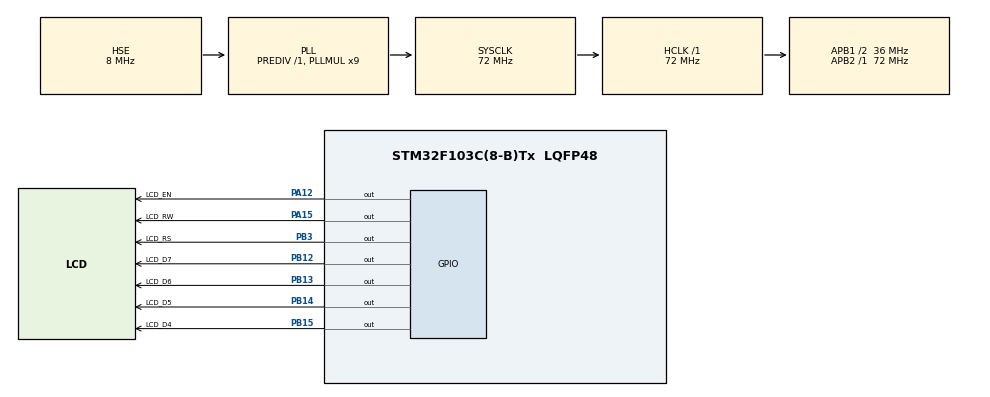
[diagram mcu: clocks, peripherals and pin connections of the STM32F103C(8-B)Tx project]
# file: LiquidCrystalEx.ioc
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Mcu.Family=STM32F1
Mcu.Name=STM32F103C(8-B)Tx
Mcu.Package=LQFP48
NVIC.PriorityGroup=NVIC_PRIORITYGROUP_4
PA12.GPIO_Label=LCD_EN
PA12.Signal=GPIO_Output
PA13.Mode=Serial_Wire
PA13.Signal=SYS_JTMS-SWDIO
PA14.Mode=Serial_Wire
PA14.Signal=SYS_JTCK-SWCLK
PA15.GPIO_Label=LCD_RW
PA15.Signal=GPIO_Output
PB12.GPIO_Label=LCD_D7
PB12.Signal=GPIO_Output
PB13.GPIO_Label=LCD_D6
PB13.Signal=GPIO_Output
PB14.GPIO_Label=LCD_D5
PB14.Signal=GPIO_Output
PB15.GPIO_Label=LCD_D4
PB15.Signal=GPIO_Output
PB3.GPIO_Label=LCD_RS
PB3.Signal=GPIO_Output
PC14-OSC32_IN.Mode=LSE-External-Oscillator
PC14-OSC32_IN.Signal=RCC_OSC32_IN
PC15-OSC32_OUT.Mode=LSE-External-Oscillator
PC15-OSC32_OUT.Signal=RCC_OSC32_OUT
PD0-OSC_IN.Mode=HSE-External-Oscillator
PD0-OSC_IN.Signal=RCC_OSC_IN
PD1-OSC_OUT.Mode=HSE-External-Oscillator
PD1-OSC_OUT.Signal=RCC_OSC_OUT
ProjectManager.HeapSize=0x200
ProjectManager.StackSize=0x400
ProjectManager.TargetToolchain=STM32CubeIDE
RCC.AHBFreq_Value=72000000
RCC.APB1CLKDivider=RCC_HCLK_DIV2
RCC.APB1Freq_Value=36000000
RCC.APB1TimFreq_Value=72000000
RCC.APB2Freq_Value=72000000
RCC.APB2TimFreq_Value=72000000
RCC.HCLKFreq_Value=72000000
RCC.PLLMUL=RCC_PLL_MUL9
RCC.PLLSourceVirtual=RCC_PLLSOURCE_HSE
RCC.SYSCLKFreq_VALUE=72000000
RCC.SYSCLKSource=RCC_SYSCLKSOURCE_PLLCLK
RCC.USBFreq_Value=72000000
board=custom

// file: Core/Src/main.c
/* USER CODE BEGIN Header */
/**
  ******************************************************************************
  * @file           : main.c
  * @brief          : Main program body
  ******************************************************************************
  * @attention
  *
  * <h2><center>&copy; Copyright (c) 2022 STMicroelectronics.
  * All rights reserved.</center></h2>
  *
  * This software component is licensed by ST under BSD 3-Clause license,
  * the "License"; You may not use this file except in compliance with the
  * License. You may obtain a copy of the License at:
  *                        opensource.org/licenses/BSD-3-Clause
  *
  ******************************************************************************
  */
/* USER CODE END Header */
#include "main.h"

/* USER CODE BEGIN Includes */
#include "LiquidCrystal.h"
#include <stdint.h>
#include <stdio.h>
/* USER CODE END Includes */

/* USER CODE BEGIN PD */

// ---- Testes (somente pode habilitar um por vez) ---------------------------*/
//#define AutoScroll
//#define Blink
//#define Cursor
//#define CustomCharacter
//#define Display
#define HelloWorld
//#define Scroll
//#define TextDirection
//#define SetCursor

/* USER CODE END PD */

void SystemClock_Config(void);
static void MX_GPIO_Init(void);

int main(void)
{

  /* MCU Configuration--------------------------------------------------------*/

  /* Reset of all peripherals, Initializes the Flash interface and the Systick. */
  HAL_Init();

  /* Configure the system clock */
  SystemClock_Config();

  /* Initialize all configured peripherals */
  MX_GPIO_Init();

  /* Infinite loop */
  /* USER CODE BEGIN WHILE */

#ifdef AutoScroll
  char buffer[10];
  LiquidCrystal lcd;
  begin(&lcd,16,2,LCD_5x8DOTS);
#endif

#ifdef Blink
  LiquidCrystal lcd;
  begin(&lcd,16,2,LCD_5x8DOTS);
  print(&lcd, "hello, world!");
#endif

#ifdef Cursor
  LiquidCrystal lcd;
  begin(&lcd,16,2,LCD_5x8DOTS);
  print(&lcd, "hello, world!");
#endif

#ifdef CustomCharacter
  // make some custom characters:
  unsigned char heart[8] = {
    0b00000,
    0b01010,
    0b11111,
    0b11111,
    0b11111,
    0b01110,
    0b00100,
    0b00000
  };

  unsigned char smiley[8] = {
    0b00000,
    0b00000,
    0b01010,
    0b00000,
    0b00000,
    0b10001,
    0b01110,
    0b00000
  };

  unsigned char frownie[8] = {
    0b00000,
    0b00000,
    0b01010,
    0b00000,
    0b00000,
    0b00000,
    0b01110,
    0b10001
  };

  unsigned char armsDown[8] = {
    0b00100,
    0b01010,
    0b00100,
    0b00100,
    0b01110,
    0b10101,
    0b00100,
    0b01010
  };

  unsigned char armsUp[8] = {
    0b00100,
    0b01010,
    0b00100,
    0b10101,
    0b01110,
    0b00100,
    0b00100,
    0b01010
  };

  char buffer[10];
  LiquidCrystal lcd;
  begin(&lcd,16,2,LCD_5x8DOTS);

  // create a new character
  createChar(&lcd, 0, heart);
  // create a new character
  createChar(&lcd, 1, smiley);
  // create a new character
  createChar(&lcd, 2, frownie);
  // create a new character
  createChar(&lcd, 3, armsDown);
  // create a new character
  createChar(&lcd, 4, armsUp);

  // set the cursor to the top left
  setCursor(&lcd, 0, 0);

  // Print a message to the LCD.
  print(&lcd, "I ");
  write(&lcd,(unsigned char) 0); // when calling lcd.write() '0' must be cast as a byte
  print(&lcd," STM32! ");
  write(&lcd,(unsigned char)1);
#endif

#ifdef Display
  LiquidCrystal lcd;
  begin(&lcd,16,2,LCD_5x8DOTS);
  print(&lcd, "hello, world!");
#endif

#ifdef HelloWorld
  char buffer[10];
  LiquidCrystal lcd;
  begin(&lcd,16,2,LCD_5x8DOTS);
  print(&lcd, "hello, world!");
#endif

#ifdef Scroll
  LiquidCrystal lcd;
  begin(&lcd,16,2,LCD_5x8DOTS);
  print(&lcd, "hello, world!");
  HAL_Delay(1000);
#endif

#ifdef TextDirection
  int thisChar = 'a';
  LiquidCrystal lcd;
  begin(&lcd,16,2,LCD_5x8DOTS);
  cursor(&lcd);
#endif

#ifdef SetCursor
  char buffer[10];
  unsigned char col = 16;
  unsigned char row = 2;
  LiquidCrystal lcd;

  begin(&lcd,col,row,LCD_5x8DOTS);
#endif

  while (1){

	#ifdef AutoScroll
	  // set the cursor to (0,0):
		setCursor(&lcd, 0, 0);
		// print from 0 to 9:
		for (int thisChar = 0; thisChar < 10; thisChar++) {
			sprintf(buffer, "%d", thisChar);
			print(&lcd, buffer);
			HAL_Delay(500);
		}

		// set the cursor to (16,1):
		setCursor(&lcd, 16, 1);
		// set the display to automatically scroll:
		autoscroll(&lcd);
		// print from 0 to 9:
		for (int thisChar = 0; thisChar < 10; thisChar++) {
			sprintf(buffer, "%d", thisChar);
			print(&lcd, buffer);
			HAL_Delay(500);
		}
		// turn off automatic scrolling
		noAutoscroll(&lcd);

		// clear screen for the next loop:
		clear(&lcd);
	#endif

	#ifdef Blink
	  noBlink(&lcd);
	  HAL_Delay(2000);
	  blink(&lcd);
	  HAL_Delay(2000);
	#endif

	#ifdef Cursor
	  noCursor(&lcd);
	  HAL_Delay(2000);
	  cursor(&lcd);
	  HAL_Delay(2000);
	#endif

	#ifdef CustomCharacter
	  setCursor(&lcd, 4, 1);
	  // draw the little man, arms down:
	  write(&lcd,3);
	  HAL_Delay(500);
	  setCursor(&lcd, 4, 1);
	  // draw him arms up:
	  write(&lcd,4);
	  HAL_Delay(500);
	#endif

	#ifdef Display
	  noDisplay(&lcd);
	  HAL_Delay(2000);
	  display(&lcd);
	  HAL_Delay(2000);
	#endif

	#ifdef HelloWorld
	  setCursor(&lcd, 0, 1);
	  sprintf(buffer, "%d", HAL_GetTick()/1000);
	  print(&lcd, buffer);
	#endif

	#ifdef Scroll
	  // scroll 13 positions (string length) to the left
	  // to move it offscreen left:
	  for (int positionCounter = 0; positionCounter < 13; positionCounter++) {
	      // scroll one position left:
	      scrollDisplayLeft(&lcd);
	      // wait a bit:
	      HAL_Delay(150);
	  }

	  // scroll 29 positions (string length + display length) to the right
	  // to move it offscreen right:
	  for (int positionCounter = 0; positionCounter < 29; positionCounter++) {
		  // scroll one position right:
	      scrollDisplayRight(&lcd);
	      // wait a bit:
	      HAL_Delay(150);
	  }

	  // scroll 16 positions (display length + string length) to the left
	  // to move it back to center:
	  for (int positionCounter = 0; positionCounter < 16; positionCounter++) {
	      // scroll one position left:
	      scrollDisplayLeft(&lcd);
	      // wait a bit:
	      HAL_Delay(150);
	  }

	  // delay at the end of the full loop:
	  HAL_Delay(1000);
	#endif

	#ifdef TextDirection
	  // reverse directions at 'm':
	  if (thisChar == 'm') {
		// go right for the next letter
		rightToLeft(&lcd);
	  }
	  // reverse again at 's':
	  if (thisChar == 's') {
		// go left for the next letter
		leftToRight(&lcd);
	  }
	  // reset at 'z':
	  if (thisChar > 'z') {
		// go to (0,0):
		home(&lcd);
		// start again at 0
		thisChar = 'a';
	  }
	  // print the character
	  write(&lcd, thisChar);
	  // wait a second:
	  HAL_Delay(1000);
	  // increment the letter:
	  thisChar++;
	#endif

	#ifdef SetCursor
	  setCursor(&lcd, (col/2)/2, 0);

	  sprintf(buffer, "%dx%d", col,row);
	  print(&lcd, buffer);
	  HAL_Delay(1000);
	  clear(&lcd);

	  for (unsigned char i = 0; i < row; i++){
		  for (unsigned char j = 0; j < col; j++){
			  setCursor(&lcd, j, i);
			  sprintf(buffer, "%X", j);
			  print(&lcd, buffer);
			  HAL_Delay(250);
		  }
	  }
	  HAL_Delay(1000);
	  clear(&lcd);
	#endif

    /* USER CODE END WHILE */

  }
}

void SystemClock_Config(void)
{
  RCC_OscInitTypeDef RCC_OscInitStruct = {0};
  RCC_ClkInitTypeDef RCC_ClkInitStruct = {0};

  /** Initializes the RCC Oscillators according to the specified parameters
  * in the RCC_OscInitTypeDef structure.
  */
  RCC_OscInitStruct.OscillatorType = RCC_OSCILLATORTYPE_HSE;
  RCC_OscInitStruct.HSEState = RCC_HSE_ON;
  RCC_OscInitStruct.HSEPredivValue = RCC_HSE_PREDIV_DIV1;
  RCC_OscInitStruct.HSIState = RCC_HSI_ON;
  RCC_OscInitStruct.PLL.PLLState = RCC_PLL_ON;
  RCC_OscInitStruct.PLL.PLLSource = RCC_PLLSOURCE_HSE;
  RCC_OscInitStruct.PLL.PLLMUL = RCC_PLL_MUL9;
  if (HAL_RCC_OscConfig(&RCC_OscInitStruct) != HAL_OK)
  {
    Error_Handler();
  }
  /** Initializes the CPU, AHB and APB buses clocks
  */
  RCC_ClkInitStruct.ClockType = RCC_CLOCKTYPE_HCLK|RCC_CLOCKTYPE_SYSCLK
                              |RCC_CLOCKTYPE_PCLK1|RCC_CLOCKTYPE_PCLK2;
  RCC_ClkInitStruct.SYSCLKSource = RCC_SYSCLKSOURCE_PLLCLK;
  RCC_ClkInitStruct.AHBCLKDivider = RCC_SYSCLK_DIV1;
  RCC_ClkInitStruct.APB1CLKDivider = RCC_HCLK_DIV2;
  RCC_ClkInitStruct.APB2CLKDivider = RCC_HCLK_DIV1;

  if (HAL_RCC_ClockConfig(&RCC_ClkInitStruct, FLASH_LATENCY_2) != HAL_OK)
  {
    Error_Handler();
  }
}

static void MX_GPIO_Init(void)
{
  GPIO_InitTypeDef GPIO_InitStruct = {0};

  /* GPIO Ports Clock Enable */
  __HAL_RCC_GPIOC_CLK_ENABLE();
  __HAL_RCC_GPIOD_CLK_ENABLE();
  __HAL_RCC_GPIOB_CLK_ENABLE();
  __HAL_RCC_GPIOA_CLK_ENABLE();

  /*Configure GPIO pin Output Level */
  HAL_GPIO_WritePin(GPIOB, LCD_D7_Pin|LCD_D6_Pin|LCD_D5_Pin|LCD_D4_Pin
                          |LCD_RS_Pin, GPIO_PIN_RESET);

  /*Configure GPIO pin Output Level */
  HAL_GPIO_WritePin(GPIOA, LCD_EN_Pin|LCD_RW_Pin, GPIO_PIN_RESET);

  /*Configure GPIO pins : LCD_D7_Pin LCD_D6_Pin LCD_D5_Pin LCD_D4_Pin
                           LCD_RS_Pin */
  GPIO_InitStruct.Pin = LCD_D7_Pin|LCD_D6_Pin|LCD_D5_Pin|LCD_D4_Pin
                          |LCD_RS_Pin;
  GPIO_InitStruct.Mode = GPIO_MODE_OUTPUT_PP;
  GPIO_InitStruct.Pull = GPIO_NOPULL;
  GPIO_InitStruct.Speed = GPIO_SPEED_FREQ_LOW;
  HAL_GPIO_Init(GPIOB, &GPIO_InitStruct);

  /*Configure GPIO pins : LCD_EN_Pin LCD_RW_Pin */
  GPIO_InitStruct.Pin = LCD_EN_Pin|LCD_RW_Pin;
  GPIO_InitStruct.Mode = GPIO_MODE_OUTPUT_PP;
  GPIO_InitStruct.Pull = GPIO_NOPULL;
  GPIO_InitStruct.Speed = GPIO_SPEED_FREQ_LOW;
  HAL_GPIO_Init(GPIOA, &GPIO_InitStruct);

}

void Error_Handler(void)
{
  __disable_irq();
  while (1)
  {
  }
}

/************************ (C) COPYRIGHT STMicroelectronics *****END OF FILE****/
